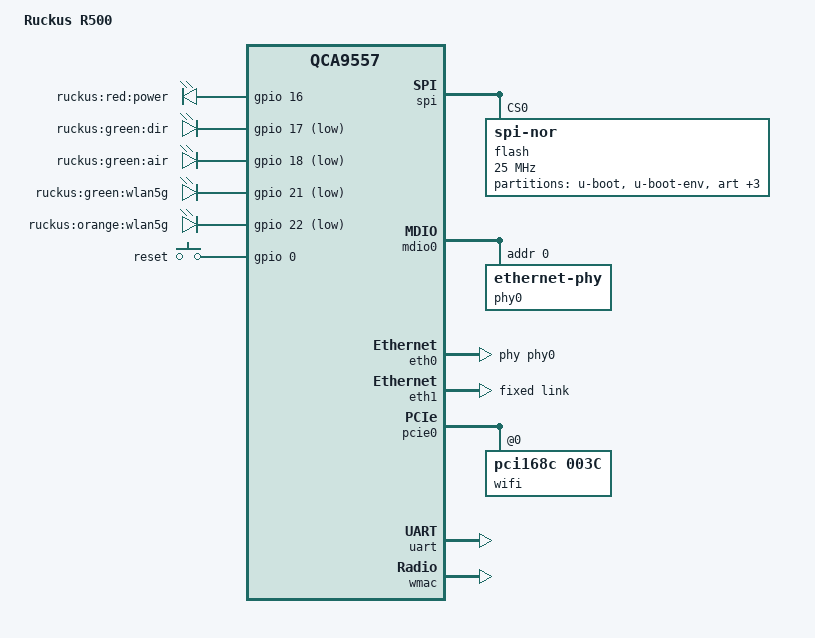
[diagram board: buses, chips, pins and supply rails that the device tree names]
// SPDX-License-Identifier: GPL-2.0-or-later OR MIT
/dts-v1/;

#include <dt-bindings/gpio/gpio.h>
#include <dt-bindings/input/input.h>

#include "qca9557.dtsi"

/ {
	compatible = "ruckus,r500", "qca,qca9557";
	model = "Ruckus R500";

	aliases {
		led-boot = &power;
		led-failsafe = &power;
		led-running = &power;
		led-upgrade = &power;
	};

	chosen {
		bootargs = "console=ttyS0,115200n8";
	};

	leds: leds {
		compatible = "gpio-leds";

		power: power {
			label = "ruckus:red:power";
			gpios = <&gpio 16 GPIO_ACTIVE_HIGH>;
			default-state = "on";
		};

		dir {
			label = "ruckus:green:dir";
			gpios = <&gpio 17 GPIO_ACTIVE_LOW>;
		};

		air {
			label = "ruckus:green:air";
			gpios = <&gpio 18 GPIO_ACTIVE_LOW>;
		};

		wlan5g_green {
			label = "ruckus:green:wlan5g";
			gpios = <&gpio 21 GPIO_ACTIVE_LOW>;
			linux,default-trigger = "phy0tpt";
		};

		wlan5g_orange {
			label = "ruckus:orange:wlan5g";
			gpios = <&gpio 22 GPIO_ACTIVE_LOW>;
		};

	};

	keys: keys {
		compatible = "gpio-keys-polled";
		poll-interval = <20>;

		reset {
			label = "reset";
			gpios = <&gpio 0 GPIO_ACTIVE_HIGH>;
			linux,code = <KEY_RESTART>;
			debounce-interval = <60>;
		};

	};

};

&spi {
	status = "okay";
	num-cs = <1>;

	flash@0 {
		compatible = "jedec,spi-nor";
		reg = <0>;
		spi-max-frequency = <25000000>;

		partitions {
			compatible = "fixed-partitions";
			#address-cells = <1>;
			#size-cells = <1>;

			partition@0 {
				label = "u-boot";
				reg = <0x000000 0x0100000>;
				read-only;
			};

			partition@100000 {
				label = "u-boot-env";
				reg = <0x0100000 0x0040000>;
			};

			art: partition@140000 {
				label = "art";
				reg = <0x0140000 0x0080000>;
				read-only;
			};

			partition@1c0000 {
				label = "config-data";
				reg = <0x01c0000 0x0640000>;
				read-only;
			};

			/*partition@800000 {
				compatible = "denx,uimage";
				label = "firmware-main";
				reg = <0x0800000 0x01800000>;
			};*/

			partition@9b77e0 {
				label = "rootfs";
				reg = <0x9b77e0 0x1648820>;
			};


			partition@2000000 {
				compatible = "denx,uimage";
				label = "firmware-backup";
				reg = <0x02000000 0x01800000>;
			};

		};
	};
};

&mdio0 {
	status = "okay";

	phy0: ethernet-phy@0 {
		reg = <0>;

		qca,ar8327-initvals = <
		    0x04 0x00080080 /* PORT0 PAD MODE CTRL */
		    0x0c 0x07600000 /* PORT6 PAD MODE CTRL */
		    0x7c 0x0000007e /* PORT0_STATUS */
		    0x94 0x0000007e /* PORT6 STATUS */
		>;
	};
};

&eth0 {
	status = "okay";

	mtd-mac-address = <&art 0x66>;
	pll-data = <0x56000000 0x00000101 0x00001616>;

	phy-handle = <&phy0>;
};

&eth1 {
	status = "okay";

	mtd-mac-address = <&art 0x6c>;
	pll-data = <0x03000101 0x00000101 0x00001616>;
	
	fixed-link {
		speed = <1000>;
		full-duplex;
	};
};

&pcie0 {
	status = "okay";

	wifi@0,0 {
		compatible = "pci168c,003c";
		reg = <0x0000 0 0 0 0>;
	};
};

&uart {
	status = "okay";
};

&wmac {
	status = "okay";
	qca,no-eeprom;
};
